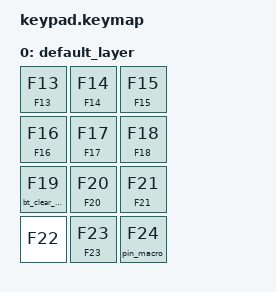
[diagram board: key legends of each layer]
#include <behaviors.dtsi>
#include <dt-bindings/zmk/keys.h>
#include <dt-bindings/zmk/bt.h>

/ {
    macros {
        // Create a macro for the bluetooth clear
        bt_clear_macro: bt_clear_macro {
            compatible = "zmk,behavior-macro";
            #binding-cells = <0>;
            bindings = <&bt BT_CLR_ALL>;
        };
        pin_macro: pin_macro {
            compatible = "zmk,behavior-macro";
            #binding-cells = <0>;
            bindings = <&kp SPACE>, <&kp N7>, <&kp N2>, <&kp N9>, <&kp N7>;
        };
    };
    behaviors {
        ht: hold_tap {
            compatible = "zmk,behavior-hold-tap";
            label = "HOLD_TAP";
            #binding-cells = <2>;
            tapping-term-ms = <200>;
            quick-tap-ms = <0>; // Prevents accidental repeats
            flavor = "tap-preferred"; // Ensures fast typing doesn't accidentally trigger Hold action
            bindings = <&kp>, <&kp>; // Hold action, then Tap action
        };
        pair: pair_tap {
            compatible = "zmk,behavior-hold-tap";
            label = "PAIR_TAP";
            #binding-cells = <2>;
            tapping-term-ms = <5000>;
            quick-tap-ms = <0>; // Prevents accidental repeats
            flavor = "tap-preferred"; // Ensures fast typing doesn't accidentally trigger Hold action
            bindings = <&bt_clear_macro>, <&kp>; // Hold action, then Tap action
        };
        pin: pin_tap {
            compatible = "zmk,behavior-hold-tap";
            label = "PIN_TAP";
            #binding-cells = <2>;
            tapping-term-ms = <1000>;
            quick-tap-ms = <0>; // Prevents accidental repeats
            flavor = "tap-preferred"; // Ensures fast typing doesn't accidentally trigger Hold action
            bindings = <&pin_macro>, <&kp>; // Hold action, then Tap action
        };
    };
    keymap {
        compatible = "zmk,keymap";
        default_layer {
            bindings = <
                &ht F13 F13  &ht F14 F14  &ht F15 F15
                &ht F16 F16  &ht F17 F17  &ht F18 F18
                &pair 0 F19  &ht F20 F20  &ht F21 F21
                &kp F22  &ht F23 F23  &pin 0 F24
            >;
        };
    };
};
